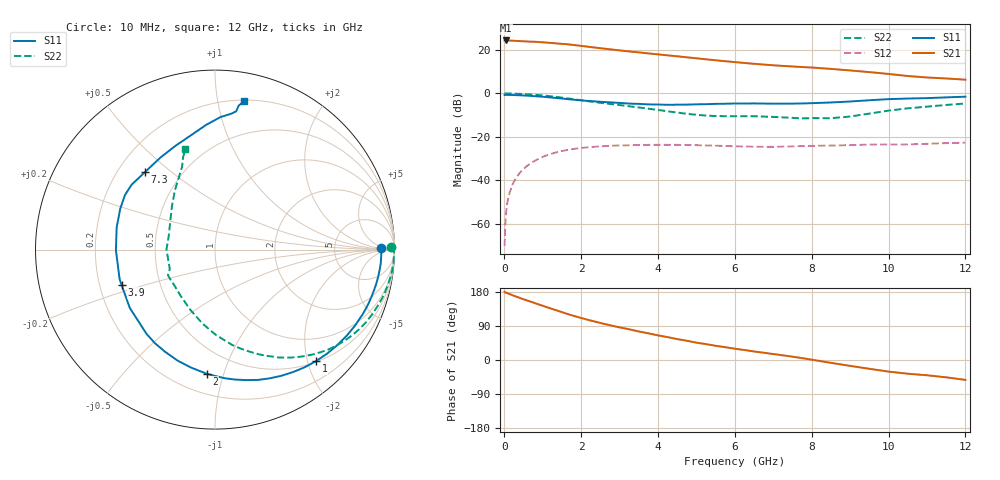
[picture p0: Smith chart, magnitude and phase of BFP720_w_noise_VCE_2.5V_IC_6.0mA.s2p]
! Infineon Technologies  Discrete & RF Semiconductors
! BFP720
! VCE =  2.5 V,  IC =  6.0 mA
! Common Emitter S-Parameters:  Aug 2012
# GHz  S  MA  R  50
!  f  S11  S21  S12  S22
! GHz  MAG  ANG  MAG  ANG  MAG  ANG  MAG  ANG
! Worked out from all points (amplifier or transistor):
!   105 points, 10 MHz to 12 GHz, reference 50 ohm
!   highest |S21| = 24.4 dB at 50 MHz (marker M1)
!   |S21| within 3 dB of that: start of sweep to 2.235 GHz
!   unconditionally stable (mu >= 1): start of sweep to 11.85 MHz; 6.338 GHz to 11.45 GHz
!   at 300 MHz: K = 0.05, MSG = 31.7 dB, |S12| = -39.3 dB
!   at 3.6 GHz: K = 0.54, MSG = 21.3 dB, |S12| = -23.8 dB
!   at 12 GHz: K = 0.82, MSG = 14.5 dB, |S12| = -22.7 dB
!   lowest NFmin = 0.43 dB at 450 MHz
!   S11 on the Smith chart (normalised r, x): 10 MHz: 24, +3; 1 GHz: 0.52, -2.15; 2 GHz: 0.33, -0.88; 3.9 GHz: 0.29, -0.17; 7.3 GHz: 0.31, +0.41; 12 GHz: 0.21, +1.19
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0.01  0.9222 0.6  16.59 179.9  0.0003 16.2  0.9819 0.9
0.05  0.9269 -2.2  16.68 177.4  0.0018 88.7  0.9969 -1.5
0.2  0.9217 -9.5  16.47 171.6  0.0073 84.8  0.9938 -6.5
0.5  0.898 -23.7  15.96 160.4  0.018 75.6  0.9701 -16.2
0.8  0.864 -38.2  15.56 150.0  0.0281 67.1  0.933 -25.8
1  0.8384 -47.8  15.12 143.2  0.0343 61.5  0.9002 -32.1
1.3  0.7946 -62.2  14.43 133.0  0.0424 53.3  0.8431 -41.2
1.6  0.7471 -76.7  13.75 122.9  0.0489 45.7  0.7791 -49.5
2  0.6932 -93.8  12.51 110.9  0.0552 36.8  0.6966 -59.6
2.1  0.6803 -97.7  12.2 108.3  0.0563 34.8  0.6772 -61.7
2.6  0.6341 -115.8  10.81 95.3  0.0609 26.0  0.5942 -72.1
3  0.6052 -129.0  9.853 86.1  0.0632 20.2  0.5396 -79.8
3.5  0.5754 -145.6  8.857 75.3  0.0648 13.9  0.4761 -89.3
3.9  0.5563 -159.2  8.138 67.2  0.0652 9.7  0.4275 -97.5
4.1  0.5518 -166.0  7.812 63.2  0.0653 7.7  0.4046 -102.0
5  0.5614 167.5  6.473 45.8  0.0641 -0.1  0.3216 -126.3
6.1  0.5865 147.4  5.186 28.4  0.0602 -5.0  0.2986 -148.3
7.3  0.582 132.0  4.292 11.6  0.0595 -4.9  0.2793 -155.4
8.5  0.6192 110.7  3.684 -7.5  0.0627 -7.3  0.2683 164.3
9.5  0.6964 94.1  3.11 -23.2  0.066 -10.1  0.3426 134.4
10.5  0.763 83.1  2.525 -36.2  0.0668 -13.1  0.4538 116.1
12  0.8416 79.0  2.078 -52.5  0.073 -18.5  0.5867 106.3
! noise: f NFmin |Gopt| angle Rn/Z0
0.45  0.43  0.44  3  0.13
1.8  0.51  0.42  24  0.13
2.4  0.55  0.3  55  0.23
5.5  0.69  0.2  58  0.14
10  0.95  0.39  -89  0.21
